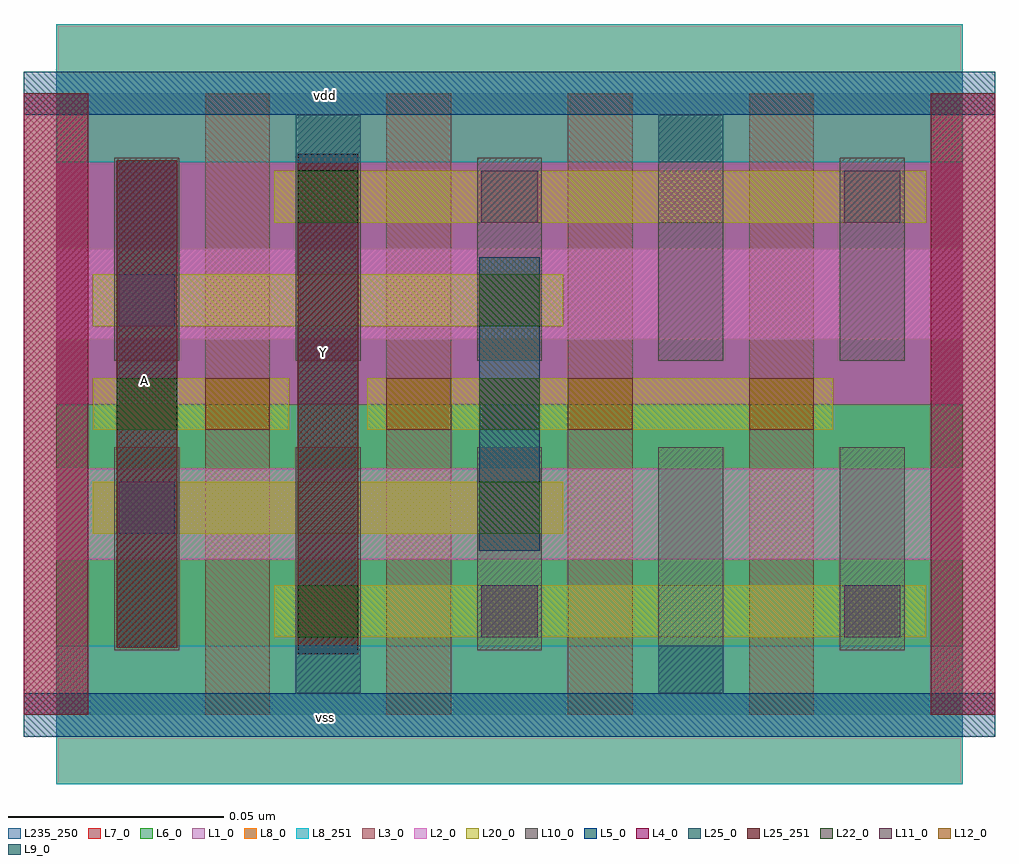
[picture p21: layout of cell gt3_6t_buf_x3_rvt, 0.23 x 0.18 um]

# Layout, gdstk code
import gdstk
lib = gdstk.Library(unit=1e-6, precision=5e-10)
def R(c, l, rs):  # rectangles x0, y0, x1, y1
    for r in rs: c.add(gdstk.rectangle(r[:2], r[2:], *l))
def A(c, l, x, y, w, h, nx, ny, dx, dy):  # array of equal rectangles
    R(c, l, [(x+i*dx, y+j*dy, x+i*dx+w, y+j*dy+h) for i in range(nx) for j in range(ny)])
L1_0 = (1, 0)
L2_0 = (2, 0)
L3_0 = (3, 0)
L4_0 = (4, 0)
L5_0 = (5, 0)
L6_0 = (6, 0)
L7_0 = (7, 0)
L8_0 = (8, 0)
L8_251 = (8, 251)
L9_0 = (9, 0)
L10_0 = (10, 0)
L11_0 = (11, 0)
L12_0 = (12, 0)
L20_0 = (20, 0)
L22_0 = (22, 0)
L25_0 = (25, 0)
L25_251 = (25, 251)
L235_250 = (235, 250)

gt3_6t_buf_x3_rvt = lib.new_cell('gt3_6t_buf_x3_rvt')
R(gt3_6t_buf_x3_rvt, L1_0, [(0,0.072,0.21,0.144)])
R(gt3_6t_buf_x3_rvt, L2_0, [(0,0.036,0.21,0.057), (0,0.087,0.21,0.108)])
A(gt3_6t_buf_x3_rvt, L3_0, -0.0075, 0, 0.015, 0.144, 6, 1, 0.042, 0)
R(gt3_6t_buf_x3_rvt, L4_0, [(-0.0075,0,0.0075,0.144), (0.2025,0,0.2175,0.144)])
R(gt3_6t_buf_x3_rvt, L5_0, [(-0.0075,-0.005,0.2175,0.005), (-0.0075,0.139,0.2175,0.149)])
R(gt3_6t_buf_x3_rvt, L6_0, [(0,0,0.21,0.072)])
R(gt3_6t_buf_x3_rvt, L7_0, [(0,0.072,0.21,0.144)])
R(gt3_6t_buf_x3_rvt, L8_0, [(0,-0.016,0.21,0.016), (0,0.128,0.21,0.16)])
R(gt3_6t_buf_x3_rvt, L8_251, [(0,-0.016,0.21,0.016), (0,0.128,0.21,0.16)])
R(gt3_6t_buf_x3_rvt, L9_0, [(0.0555,0.005,0.0705,0.016), (0.1395,0.005,0.1545,0.016), (0.0555,0.128,0.0705,0.139), (0.1395,0.128,0.1545,0.139)])
A(gt3_6t_buf_x3_rvt, L10_0, 0.0135, 0.015, 0.015, 0.047, 3, 2, 0.084, 0.067)
R(gt3_6t_buf_x3_rvt, L10_0, [(0.0555,0.005,0.0705,0.062), (0.1395,0.005,0.1545,0.062), (0.0555,0.082,0.0705,0.139), (0.1395,0.082,0.1545,0.139)])
R(gt3_6t_buf_x3_rvt, L11_0, [(0.0985,0.018,0.1115,0.03), (0.1825,0.018,0.1955,0.03), (0.0145,0.042,0.0275,0.054), (0.0145,0.09,0.0275,0.102), (0.0985,0.114,0.1115,0.126), (0.1825,0.114,0.1955,0.126)])
A(gt3_6t_buf_x3_rvt, L12_0, 0.0345, 0.066, 0.015, 0.012, 4, 1, 0.042, 0)
R(gt3_6t_buf_x3_rvt, L20_0, [(0.0505,0.018,0.2015,0.03), (0.0085,0.042,0.1175,0.054), (0.0085,0.066,0.054,0.078), (0.072,0.066,0.18,0.078), (0.0085,0.09,0.1175,0.102), (0.0505,0.114,0.2015,0.126)])
A(gt3_6t_buf_x3_rvt, L22_0, 0.098, 0.042, 0.014, 0.012, 1, 3, 0, 0.024)
R(gt3_6t_buf_x3_rvt, L22_0, [(0.056,0.018,0.07,0.03), (0.014,0.066,0.028,0.078), (0.056,0.114,0.07,0.126)])
R(gt3_6t_buf_x3_rvt, L25_0, [(0.056,0.014,0.07,0.13), (0.014,0.0155,0.028,0.1285), (0.098,0.038,0.112,0.106)])
R(gt3_6t_buf_x3_rvt, L25_251, [(0.056,0.014,0.07,0.13), (0.014,0.0155,0.028,0.1285)])
R(gt3_6t_buf_x3_rvt, L235_250, [(0,0,0.21,0.144)])
gt3_6t_buf_x3_rvt.add(gdstk.Label('vss', (0.0625,-0.0005), layer=8, texttype=251))
gt3_6t_buf_x3_rvt.add(gdstk.Label('vdd', (0.0625,0.1435), layer=8, texttype=251))
gt3_6t_buf_x3_rvt.add(gdstk.Label('A', (0.0205,0.0775), layer=25, texttype=251))
gt3_6t_buf_x3_rvt.add(gdstk.Label('Y', (0.062,0.084), layer=25, texttype=251))

lib.write_gds('gt3_6t_buf_x3_rvt.gds')
